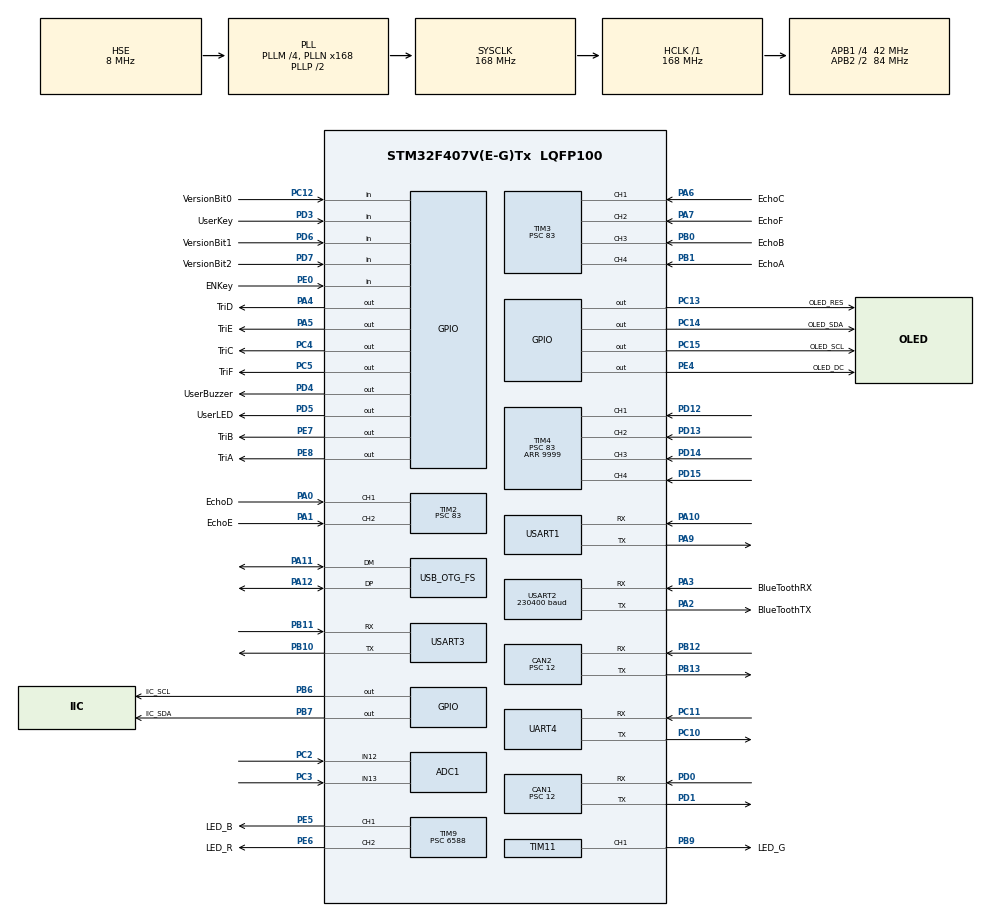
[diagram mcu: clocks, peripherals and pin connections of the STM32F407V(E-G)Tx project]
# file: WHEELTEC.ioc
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ADC1.Channel-0\#ChannelRegularConversion=ADC_CHANNEL_12
ADC1.Channel-1\#ChannelRegularConversion=ADC_CHANNEL_13
ADC1.ClockPrescaler=ADC_CLOCK_SYNC_PCLK_DIV6
ADC1.ContinuousConvMode=ENABLE
ADC1.DMAContinuousRequests=ENABLE
ADC1.NbrOfConversion=2
ADC1.NbrOfConversionFlag=1
ADC1.Rank-0\#ChannelRegularConversion=1
ADC1.Rank-1\#ChannelRegularConversion=2
ADC1.SamplingTime-0\#ChannelRegularConversion=ADC_SAMPLETIME_480CYCLES
ADC1.SamplingTime-1\#ChannelRegularConversion=ADC_SAMPLETIME_480CYCLES
ADC1.ScanConvMode=ENABLE
ADC1.master=1
CAN1.BS1=CAN_BS1_3TQ
CAN1.BS2=CAN_BS2_3TQ
CAN1.CalculateBaudRate=500000
CAN1.CalculateTimeBit=2000
CAN1.CalculateTimeQuantum=285.7142857142857
CAN1.Prescaler=12
CAN1.SJW=CAN_SJW_1TQ
CAN2.BS1=CAN_BS1_3TQ
CAN2.BS2=CAN_BS2_3TQ
CAN2.CalculateBaudRate=500000
CAN2.CalculateTimeBit=2000
CAN2.CalculateTimeQuantum=285.7142857142857
CAN2.Prescaler=12
Dma.ADC1.0.Direction=DMA_PERIPH_TO_MEMORY
Dma.ADC1.0.FIFOMode=DMA_FIFOMODE_DISABLE
Dma.ADC1.0.Instance=DMA2_Stream0
Dma.ADC1.0.MemDataAlignment=DMA_MDATAALIGN_HALFWORD
Dma.ADC1.0.MemInc=DMA_MINC_ENABLE
Dma.ADC1.0.Mode=DMA_CIRCULAR
Dma.ADC1.0.PeriphDataAlignment=DMA_PDATAALIGN_HALFWORD
Dma.ADC1.0.PeriphInc=DMA_PINC_DISABLE
Dma.ADC1.0.Priority=DMA_PRIORITY_LOW
Dma.Request0=ADC1
Dma.Request1=USART2_TX
Dma.Request2=UART4_TX
Dma.Request3=USART1_TX
Dma.Request4=USART3_RX
Dma.UART4_TX.2.Direction=DMA_MEMORY_TO_PERIPH
Dma.UART4_TX.2.FIFOMode=DMA_FIFOMODE_DISABLE
Dma.UART4_TX.2.Instance=DMA1_Stream4
Dma.UART4_TX.2.MemDataAlignment=DMA_MDATAALIGN_BYTE
Dma.UART4_TX.2.MemInc=DMA_MINC_ENABLE
Dma.UART4_TX.2.Mode=DMA_NORMAL
Dma.UART4_TX.2.PeriphDataAlignment=DMA_PDATAALIGN_BYTE
Dma.UART4_TX.2.PeriphInc=DMA_PINC_DISABLE
Dma.UART4_TX.2.Priority=DMA_PRIORITY_LOW
Dma.USART1_TX.3.Direction=DMA_MEMORY_TO_PERIPH
Dma.USART1_TX.3.FIFOMode=DMA_FIFOMODE_DISABLE
Dma.USART1_TX.3.Instance=DMA2_Stream7
Dma.USART1_TX.3.MemDataAlignment=DMA_MDATAALIGN_BYTE
Dma.USART1_TX.3.MemInc=DMA_MINC_ENABLE
Dma.USART1_TX.3.Mode=DMA_NORMAL
Dma.USART1_TX.3.PeriphDataAlignment=DMA_PDATAALIGN_BYTE
Dma.USART1_TX.3.PeriphInc=DMA_PINC_DISABLE
Dma.USART1_TX.3.Priority=DMA_PRIORITY_LOW
Dma.USART2_TX.1.Direction=DMA_MEMORY_TO_PERIPH
Dma.USART2_TX.1.FIFOMode=DMA_FIFOMODE_DISABLE
Dma.USART2_TX.1.Instance=DMA1_Stream6
Dma.USART2_TX.1.MemDataAlignment=DMA_MDATAALIGN_BYTE
Dma.USART2_TX.1.MemInc=DMA_MINC_ENABLE
Dma.USART2_TX.1.Mode=DMA_NORMAL
Dma.USART2_TX.1.PeriphDataAlignment=DMA_PDATAALIGN_BYTE
Dma.USART2_TX.1.PeriphInc=DMA_PINC_DISABLE
Dma.USART2_TX.1.Priority=DMA_PRIORITY_LOW
Dma.USART3_RX.4.Direction=DMA_PERIPH_TO_MEMORY
Dma.USART3_RX.4.FIFOMode=DMA_FIFOMODE_DISABLE
Dma.USART3_RX.4.Instance=DMA1_Stream1
Dma.USART3_RX.4.MemDataAlignment=DMA_MDATAALIGN_BYTE
Dma.USART3_RX.4.MemInc=DMA_MINC_ENABLE
Dma.USART3_RX.4.Mode=DMA_NORMAL
Dma.USART3_RX.4.PeriphDataAlignment=DMA_PDATAALIGN_BYTE
Dma.USART3_RX.4.PeriphInc=DMA_PINC_DISABLE
Dma.USART3_RX.4.Priority=DMA_PRIORITY_LOW
FREERTOS.Tasks01=InitTask,32,128,StartInitTask,Default,NULL,Dynamic,NULL,NULL
FREERTOS.configCHECK_FOR_STACK_OVERFLOW=2
FREERTOS.configENABLE_FPU=1
FREERTOS.configGENERATE_RUN_TIME_STATS=1
FREERTOS.configTOTAL_HEAP_SIZE=51200
FREERTOS.configUSE_DAEMON_TASK_STARTUP_HOOK=0
FREERTOS.configUSE_IDLE_HOOK=1
FREERTOS.configUSE_MALLOC_FAILED_HOOK=1
FREERTOS.configUSE_STATS_FORMATTING_FUNCTIONS=1
Mcu.Family=STM32F4
Mcu.Name=STM32F407V(E-G)Tx
Mcu.Package=LQFP100
NVIC.CAN1_RX0_IRQn=true\:5\:0\:false\:false\:true\:true\:true\:true\:true
NVIC.CAN2_RX1_IRQn=true\:5\:0\:false\:false\:true\:true\:true\:true\:true
NVIC.DMA1_Stream1_IRQn=true\:5\:0\:false\:false\:true\:true\:false\:true\:true
NVIC.DMA1_Stream4_IRQn=true\:5\:0\:false\:false\:true\:true\:false\:true\:true
NVIC.DMA1_Stream6_IRQn=true\:5\:0\:false\:false\:true\:true\:false\:true\:true
NVIC.DMA2_Stream0_IRQn=true\:5\:0\:false\:false\:true\:true\:false\:true\:true
NVIC.DMA2_Stream7_IRQn=true\:5\:0\:false\:false\:true\:true\:false\:true\:true
NVIC.OTG_FS_IRQn=true\:5\:0\:false\:false\:true\:true\:false\:true\:true
NVIC.PriorityGroup=NVIC_PRIORITYGROUP_4
NVIC.TIM2_IRQn=true\:5\:0\:false\:false\:true\:true\:true\:true\:true
NVIC.TIM3_IRQn=true\:5\:0\:false\:false\:true\:true\:true\:true\:true
NVIC.TIM4_IRQn=true\:5\:0\:false\:false\:true\:true\:true\:true\:true
NVIC.TIM7_IRQn=true\:0\:0\:true\:false\:true\:false\:false\:true\:true
NVIC.TimeBase=TIM7_IRQn
NVIC.TimeBaseIP=TIM7
NVIC.UART4_IRQn=true\:5\:0\:false\:false\:true\:true\:true\:true\:true
NVIC.USART1_IRQn=true\:5\:0\:false\:false\:true\:true\:true\:true\:true
NVIC.USART2_IRQn=true\:5\:0\:false\:false\:true\:true\:true\:true\:true
NVIC.USART3_IRQn=true\:5\:0\:false\:false\:true\:true\:true\:true\:true
PA0-WKUP.GPIO_Label=EchoD
PA0-WKUP.Signal=S_TIM2_CH1_ETR
PA1.GPIO_Label=EchoE
PA1.Signal=S_TIM2_CH2
PA10.Mode=Asynchronous
PA10.Signal=USART1_RX
PA11.Mode=Host_Only
PA11.Signal=USB_OTG_FS_DM
PA12.Mode=Host_Only
PA12.Signal=USB_OTG_FS_DP
PA13.Mode=Serial_Wire
PA13.Signal=SYS_JTMS-SWDIO
PA14.Mode=Serial_Wire
PA14.Signal=SYS_JTCK-SWCLK
PA2.GPIO_Label=BlueToothTX
PA2.Mode=Asynchronous
PA2.Signal=USART2_TX
PA3.GPIO_Label=BlueToothRX
PA3.Mode=Asynchronous
PA3.Signal=USART2_RX
PA4.GPIO_Label=TriD
PA4.GPIO_Speed=GPIO_SPEED_FREQ_VERY_HIGH
PA4.PinState=GPIO_PIN_SET
PA4.Signal=GPIO_Output
PA5.GPIO_Label=TriE
PA5.GPIO_Speed=GPIO_SPEED_FREQ_VERY_HIGH
PA5.PinState=GPIO_PIN_SET
PA5.Signal=GPIO_Output
PA6.GPIO_Label=EchoC
PA6.Signal=S_TIM3_CH1
PA7.GPIO_Label=EchoF
PA7.Signal=S_TIM3_CH2
PA9.Mode=Asynchronous
PA9.Signal=USART1_TX
PB0.GPIO_Label=EchoB
PB0.Signal=S_TIM3_CH3
PB1.GPIO_Label=EchoA
PB1.Signal=S_TIM3_CH4
PB10.Mode=Asynchronous
PB10.Signal=USART3_TX
PB11.Mode=Asynchronous
PB11.Signal=USART3_RX
PB12.Mode=CAN_Activate
PB12.Signal=CAN2_RX
PB13.Mode=CAN_Activate
PB13.Signal=CAN2_TX
PB6.GPIO_Label=IIC_SCL
PB6.GPIO_PuPd=GPIO_NOPULL
PB6.GPIO_Speed=GPIO_SPEED_FREQ_VERY_HIGH
PB6.PinState=GPIO_PIN_SET
PB6.Signal=GPIO_Output
PB7.GPIO_Label=IIC_SDA
PB7.GPIO_Speed=GPIO_SPEED_FREQ_VERY_HIGH
PB7.PinState=GPIO_PIN_SET
PB7.Signal=GPIO_Output
PB9.GPIO_Label=LED_G
PB9.Signal=S_TIM11_CH1
PC10.Mode=Asynchronous
PC10.Signal=UART4_TX
PC11.Mode=Asynchronous
PC11.Signal=UART4_RX
PC12.GPIO_Label=VersionBit0
PC12.GPIO_PuPd=GPIO_PULLUP
PC12.Signal=GPIO_Input
PC13-ANTI_TAMP.GPIO_Label=OLED_RES
PC13-ANTI_TAMP.Signal=GPIO_Output
PC14-OSC32_IN.GPIO_Label=OLED_SDA
PC14-OSC32_IN.Signal=GPIO_Output
PC15-OSC32_OUT.GPIO_Label=OLED_SCL
PC15-OSC32_OUT.Signal=GPIO_Output
PC2.Signal=ADCx_IN12
PC3.Signal=ADCx_IN13
PC4.GPIO_Label=TriC
PC4.GPIO_Speed=GPIO_SPEED_FREQ_VERY_HIGH
PC4.PinState=GPIO_PIN_SET
PC4.Signal=GPIO_Output
PC5.GPIO_Label=TriF
PC5.GPIO_Speed=GPIO_SPEED_FREQ_VERY_HIGH
PC5.PinState=GPIO_PIN_SET
PC5.Signal=GPIO_Output
PD0.Mode=CAN_Activate
PD0.Signal=CAN1_RX
PD1.Mode=CAN_Activate
PD1.Signal=CAN1_TX
PD12.Signal=S_TIM4_CH1
PD13.Signal=S_TIM4_CH2
PD14.Signal=S_TIM4_CH3
PD15.Signal=S_TIM4_CH4
PD3.GPIO_Label=UserKey
PD3.GPIO_PuPd=GPIO_PULLUP
PD3.Signal=GPIO_Input
PD4.GPIO_Label=UserBuzzer
PD4.PinState=GPIO_PIN_RESET
PD4.Signal=GPIO_Output
PD5.GPIO_Label=UserLED
PD5.PinState=GPIO_PIN_SET
PD5.Signal=GPIO_Output
PD6.GPIO_Label=VersionBit1
PD6.GPIO_PuPd=GPIO_PULLUP
PD6.Signal=GPIO_Input
PD7.GPIO_Label=VersionBit2
PD7.GPIO_PuPd=GPIO_PULLUP
PD7.Signal=GPIO_Input
PE0.GPIO_Label=ENKey
PE0.GPIO_Mode=GPIO_MODE_INPUT
PE0.GPIO_PuPd=GPIO_PULLUP
PE0.Signal=GPIO_Input
PE4.GPIO_Label=OLED_DC
PE4.Signal=GPIO_Output
PE5.GPIO_Label=LED_B
PE5.Signal=S_TIM9_CH1
PE6.GPIO_Label=LED_R
PE6.Signal=S_TIM9_CH2
PE7.GPIO_Label=TriB
PE7.GPIO_Speed=GPIO_SPEED_FREQ_VERY_HIGH
PE7.PinState=GPIO_PIN_SET
PE7.Signal=GPIO_Output
PE8.GPIO_Label=TriA
PE8.GPIO_Speed=GPIO_SPEED_FREQ_VERY_HIGH
PE8.PinState=GPIO_PIN_SET
PE8.Signal=GPIO_Output
PH0-OSC_IN.Mode=HSE-External-Oscillator
PH0-OSC_IN.Signal=RCC_OSC_IN
PH1-OSC_OUT.Mode=HSE-External-Oscillator
PH1-OSC_OUT.Signal=RCC_OSC_OUT
ProjectManager.HeapSize=0x200
ProjectManager.StackSize=0x400
ProjectManager.TargetToolchain=STM32CubeIDE
RCC.48MHZClocksFreq_Value=48000000
RCC.AHBFreq_Value=168000000
RCC.APB1CLKDivider=RCC_HCLK_DIV4
RCC.APB1Freq_Value=42000000
RCC.APB1TimFreq_Value=84000000
RCC.APB2CLKDivider=RCC_HCLK_DIV2
RCC.APB2Freq_Value=84000000
RCC.APB2TimFreq_Value=168000000
RCC.CortexFreq_Value=168000000
RCC.HCLKFreq_Value=168000000
RCC.HSE_VALUE=8000000
RCC.HSI_VALUE=16000000
RCC.LSE_VALUE=32768
RCC.PLLM=4
RCC.PLLN=168
RCC.PLLQ=7
RCC.SYSCLKFreq_VALUE=168000000
RCC.SYSCLKSource=RCC_SYSCLKSOURCE_PLLCLK
RCC.VCOOutputFreq_Value=336000000
SH.ADCx_IN12.0=ADC1_IN12,IN12
SH.ADCx_IN13.0=ADC1_IN13,IN13
SH.S_TIM11_CH1.0=TIM11_CH1,PWM Generation1 CH1
SH.S_TIM2_CH1_ETR.0=TIM2_CH1,Input_Capture1_from_TI1
SH.S_TIM2_CH2.0=TIM2_CH2,Input_Capture2_from_TI2
SH.S_TIM3_CH1.0=TIM3_CH1,Input_Capture1_from_TI1
SH.S_TIM3_CH2.0=TIM3_CH2,Input_Capture2_from_TI2
SH.S_TIM3_CH3.0=TIM3_CH3,Input_Capture3_from_TI3
SH.S_TIM3_CH4.0=TIM3_CH4,Input_Capture4_from_TI4
SH.S_TIM4_CH1.0=TIM4_CH1,Input_Capture1_from_TI1
SH.S_TIM4_CH2.0=TIM4_CH2,Input_Capture2_from_TI2
SH.S_TIM4_CH3.0=TIM4_CH3,Input_Capture3_from_TI3
SH.S_TIM4_CH4.0=TIM4_CH4,Input_Capture4_from_TI4
SH.S_TIM9_CH1.0=TIM9_CH1,PWM Generation1 CH1
SH.S_TIM9_CH2.0=TIM9_CH2,PWM Generation2 CH2
TIM11.Channel=TIM_CHANNEL_1
TIM11.Period=254
TIM11.Prescaler=6588
TIM2.Channel-Input_Capture1_from_TI1=TIM_CHANNEL_1
TIM2.Channel-Input_Capture2_from_TI2=TIM_CHANNEL_2
TIM2.Period=0xffff
TIM2.Prescaler=83
TIM3.Channel-Input_Capture1_from_TI1=TIM_CHANNEL_1
TIM3.Channel-Input_Capture2_from_TI2=TIM_CHANNEL_2
TIM3.Channel-Input_Capture3_from_TI3=TIM_CHANNEL_3
TIM3.Channel-Input_Capture4_from_TI4=TIM_CHANNEL_4
TIM3.Prescaler=83
TIM4.Channel-Input_Capture1_from_TI1=TIM_CHANNEL_1
TIM4.Channel-Input_Capture2_from_TI2=TIM_CHANNEL_2
TIM4.Channel-Input_Capture3_from_TI3=TIM_CHANNEL_3
TIM4.Channel-Input_Capture4_from_TI4=TIM_CHANNEL_4
TIM4.Period=9999
TIM4.Prescaler=83
TIM6.Prescaler=839
TIM9.Channel-PWM\ Generation1\ CH1=TIM_CHANNEL_1
TIM9.Channel-PWM\ Generation2\ CH2=TIM_CHANNEL_2
TIM9.Period=254
TIM9.Prescaler=6588
UART4.VirtualMode=Asynchronous
USART1.VirtualMode=VM_ASYNC
USART2.BaudRate=230400
USART2.VirtualMode=VM_ASYNC
USART3.VirtualMode=VM_ASYNC
USB_HOST.SW_VBUS_DRIVE_HID_FS=true
USB_HOST.USBH_DEBUG_LEVEL-HID_FS=0
USB_HOST.USBH_HandleTypeDef-HID_FS=hUsbHostFS
USB_HOST.USBH_MAX_DATA_BUFFER-HID_FS=2048
USB_HOST.USBH_MAX_NUM_SUPPORTED_CLASS-HID_FS=2
USB_HOST.USBH_MAX_SIZE_CONFIGURATION-HID_FS=256
USB_HOST.USBH_PROCESS_STACK_SIZE-HID_FS=1024
USB_HOST.VirtualModeFS=Hid
USB_OTG_FS.VirtualMode=Host_Only
USB_OTG_FS.phy_itface=HCD_PHY_EMBEDDED
VP_FREERTOS_VS_CMSIS_V2.Mode=CMSIS_V2
VP_SYS_VS_tim7.Mode=TIM7
VP_TIM11_VS_ClockSourceINT.Mode=Enable_Timer
VP_TIM2_VS_ClockSourceINT.Mode=Internal
VP_TIM3_VS_ClockSourceINT.Mode=Internal
VP_TIM4_VS_ClockSourceINT.Mode=Internal
VP_TIM6_VS_ClockSourceINT.Mode=Enable_Timer
VP_TIM9_VS_ClockSourceINT.Mode=Internal
VP_USB_HOST_VS_USB_HOST_HID_FS.Mode=HID_FS
board=custom

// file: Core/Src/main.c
/* USER CODE BEGIN Header */
/**
  ******************************************************************************
  * @file           : main.c
  * @brief          : Main program body
  ******************************************************************************
  * @attention
  *
  * Copyright (c) 2025 STMicroelectronics.
  * All rights reserved.
  *
  * This software is licensed under terms that can be found in the LICENSE file
  * in the root directory of this software component.
  * If no LICENSE file comes with this software, it is provided AS-IS.
  *
  ******************************************************************************
  */
/* USER CODE END Header */
#include "main.h"
#include "cmsis_os.h"
#include "adc.h"
#include "can.h"
#include "dma.h"
#include "tim.h"
#include "usart.h"
#include "usb_host.h"
#include "gpio.h"

/* USER CODE BEGIN Includes */
#include <stdio.h>

//bsp
#include "bsp_oled.h"
#include "bsp_dwt.h"
#include "bsp_can.h"
#include "bsp_adc.h"
#include "bsp_flash.h"

#include "robot_select_init.h"

/* USER CODE END Includes */

/* USER CODE BEGIN PV */

static uint8_t HardWareVersion = HW_UnKnown; //系统硬件版本

uint8_t BlueToothBuffer = 0;//蓝牙串口接收缓冲
uint8_t rosbuffer = 0;      //ROS串口接收缓冲区
uint8_t usart1_buffer = 0;  //串口1接收缓冲区
uint8_t rs485_buffer = 0;   //485接收缓冲区

DebugType_t g_sys_debug = { 0 }; //全局调试变量
/* USER CODE END PV */

void SystemClock_Config(void);
void MX_FREERTOS_Init(void);

int main(void)
{

  /* MCU Configuration--------------------------------------------------------*/

  /* Reset of all peripherals, Initializes the Flash interface and the Systick. */
  HAL_Init();

  /* Configure the system clock */
  SystemClock_Config();

  /* Initialize all configured peripherals */
  MX_GPIO_Init();
  MX_DMA_Init();
  MX_USART1_UART_Init();
  MX_USART2_UART_Init();
  MX_USART3_UART_Init();
  MX_UART4_Init();
  MX_TIM2_Init();
  MX_TIM3_Init();
  MX_TIM4_Init();
  MX_TIM6_Init();
  MX_TIM9_Init();
  MX_TIM11_Init();
  MX_ADC1_Init();
  MX_CAN1_Init();
  MX_CAN2_Init();
  /* USER CODE BEGIN 2 */

	//DWT定时器初始化,用于实现ms、us延时函数
	DWT_Init();

	//ADC用户配置初始化
	ADC_Userconfig_Init();

	//启动FreeRTOS系统调试定时器
	HAL_TIM_Base_Start(&htim6);

	//OLED屏幕初始化
	pOLEDInterface_t oled = &UserOLED;
	oled->init();

	//C63X硬件版本确定(通过版本io口,确认硬件版本)
	uint8_t Version = 0;
	Version |= (HAL_GPIO_ReadPin(VersionBit2_GPIO_Port,VersionBit2_Pin))<<2;
	Version |= (HAL_GPIO_ReadPin(VersionBit1_GPIO_Port,VersionBit1_Pin))<<1;
	Version |= (HAL_GPIO_ReadPin(VersionBit0_GPIO_Port,VersionBit0_Pin))<<0;

	if( Version == 0 )
	{
		HardWareVersion = HW_1_1;
	}
	else if( Version == 7)
	{
		HardWareVersion = HW_1_0;

		//反初始化V2.0版本的CAN引脚
		HAL_GPIO_DeInit(GPIOD, GPIO_PIN_0|GPIO_PIN_1);

		//初始化V1.0版本CAN引脚
		GPIO_InitTypeDef GPIO_InitStruct = {0};
		__HAL_RCC_GPIOA_CLK_ENABLE();
		GPIO_InitStruct.Pin = GPIO_PIN_11|GPIO_PIN_12;
		GPIO_InitStruct.Mode = GPIO_MODE_AF_PP;
		GPIO_InitStruct.Pull = GPIO_NOPULL;
		GPIO_InitStruct.Speed = GPIO_SPEED_FREQ_VERY_HIGH;
		GPIO_InitStruct.Alternate = GPIO_AF9_CAN1;
		HAL_GPIO_Init(GPIOA, &GPIO_InitStruct);

		//V1.0版本急停开关
		HAL_GPIO_DeInit(ENKey_GPIO_Port,ENKey_Pin);
		__HAL_RCC_GPIOD_CLK_ENABLE();
		GPIO_InitStruct.Pin = ENKey_V1_0_Pin;
		GPIO_InitStruct.Mode = GPIO_MODE_INPUT;
		GPIO_InitStruct.Pull = GPIO_PULLUP;
		HAL_GPIO_Init(ENKey_V1_0_GPIO_Port, &GPIO_InitStruct);

		//V1.0版本按键
		HAL_GPIO_DeInit(UserKey_V1_0_Port,UserKey_V1_0_Pin);
		HAL_GPIO_DeInit(UserKey_GPIO_Port,UserKey_Pin);
		__HAL_RCC_GPIOD_CLK_ENABLE();
		GPIO_InitStruct.Pin = UserKey_V1_0_Pin;
		GPIO_InitStruct.Mode = GPIO_MODE_INPUT;
		GPIO_InitStruct.Pull = GPIO_PULLUP;
		HAL_GPIO_Init(UserKey_V1_0_Port, &GPIO_InitStruct);
	}
	else
	{
		oled->ShowString(0,0,"unknown hardware-version.");
		oled->ShowString(0,35,"please reset and-retry.");
		oled->RefreshGram();
		while(1)
		{
			HAL_GPIO_TogglePin(UserBuzzer_GPIO_Port,UserBuzzer_Pin);
			HAL_Delay(500);
		}
	}

	//开启航模遥控相关定时器捕获功能
	HAL_TIM_IC_Start_IT(&htim4,TIM_CHANNEL_1);
	HAL_TIM_IC_Start_IT(&htim4,TIM_CHANNEL_2);
	HAL_TIM_IC_Start_IT(&htim4,TIM_CHANNEL_3);
	HAL_TIM_IC_Start_IT(&htim4,TIM_CHANNEL_4);

	//启动串口接收中断
	HAL_UART_Receive_IT(&huart2,&BlueToothBuffer,1);
	HAL_UART_Receive_IT(&huart4,&rosbuffer,1);
	HAL_UART_Receive_IT(&huart1,&usart1_buffer,1);
	HAL_UART_Receive_IT(&huart3,&rs485_buffer,1);

	//485接口测试使用
//	uint8_t _485debug[] = {"hello c63x! RS485 Test Info"};
//	HAL_UART_Transmit(&huart3,_485debug,sizeof(_485debug)/sizeof(_485debug[0]),500);

	//通过电位器确认车型
	HAL_Delay(500);
	Robot_Select();

	//读取用户保存的默认速度值
	uint32_t flashdata[2];
	User_Flash_ReadParam((uint32_t *)flashdata,2);

	//小车默认遥控速度值
	if( flashdata[0]!=0xFFFFFFFF )
	{
		if( flashdata[0]<=3500 )
			RobotControlParam.defalutSpeed = flashdata[0];
	}

	//纠偏系数值
	if( flashdata[1]!=0xFFFFFFFF )
	{
		if( flashdata[1]<=100 )
			RobotControlParam.LineDiffParam = flashdata[1];
	}

  /* USER CODE END 2 */

  /* Init scheduler */
  osKernelInitialize();  /* Call init function for freertos objects (in cmsis_os2.c) */
  MX_FREERTOS_Init();

  /* Start scheduler */
  osKernelStart();

  /* We should never get here as control is now taken by the scheduler */

  /* Infinite loop */
  while (1)
  {

  }
}

void SystemClock_Config(void)
{
  RCC_OscInitTypeDef RCC_OscInitStruct = {0};
  RCC_ClkInitTypeDef RCC_ClkInitStruct = {0};

  /** Configure the main internal regulator output voltage
  */
  __HAL_RCC_PWR_CLK_ENABLE();
  __HAL_PWR_VOLTAGESCALING_CONFIG(PWR_REGULATOR_VOLTAGE_SCALE1);

  /** Initializes the RCC Oscillators according to the specified parameters
  * in the RCC_OscInitTypeDef structure.
  */
  RCC_OscInitStruct.OscillatorType = RCC_OSCILLATORTYPE_HSE;
  RCC_OscInitStruct.HSEState = RCC_HSE_ON;
  RCC_OscInitStruct.PLL.PLLState = RCC_PLL_ON;
  RCC_OscInitStruct.PLL.PLLSource = RCC_PLLSOURCE_HSE;
  RCC_OscInitStruct.PLL.PLLM = 4;
  RCC_OscInitStruct.PLL.PLLN = 168;
  RCC_OscInitStruct.PLL.PLLP = RCC_PLLP_DIV2;
  RCC_OscInitStruct.PLL.PLLQ = 7;
  if (HAL_RCC_OscConfig(&RCC_OscInitStruct) != HAL_OK)
  {
    Error_Handler();
  }

  /** Initializes the CPU, AHB and APB buses clocks
  */
  RCC_ClkInitStruct.ClockType = RCC_CLOCKTYPE_HCLK|RCC_CLOCKTYPE_SYSCLK
                              |RCC_CLOCKTYPE_PCLK1|RCC_CLOCKTYPE_PCLK2;
  RCC_ClkInitStruct.SYSCLKSource = RCC_SYSCLKSOURCE_PLLCLK;
  RCC_ClkInitStruct.AHBCLKDivider = RCC_SYSCLK_DIV1;
  RCC_ClkInitStruct.APB1CLKDivider = RCC_HCLK_DIV4;
  RCC_ClkInitStruct.APB2CLKDivider = RCC_HCLK_DIV2;

  if (HAL_RCC_ClockConfig(&RCC_ClkInitStruct, FLASH_LATENCY_5) != HAL_OK)
  {
    Error_Handler();
  }
}

/* USER CODE BEGIN 4 */

UART_HandleTypeDef *DebugSerial = &huart1;

//printf函数实现
int fputc(int ch,FILE* stream)
{
	while( HAL_OK != HAL_UART_Transmit(DebugSerial,(const uint8_t *)&ch,1,100));
	return ch;
}

//获取硬件版本
uint8_t get_HardWareVersion(void)
{
	return HardWareVersion;
}

//获取急停开关状态,与版本相关
GPIO_PinState get_EnKeyState(void)
{
	if( HardWareVersion == HW_1_0 )
	{
		return HAL_GPIO_ReadPin(ENKey_V1_0_GPIO_Port,ENKey_V1_0_Pin);
	}
	else if( HardWareVersion == HW_1_1 )
	{
		return HAL_GPIO_ReadPin(ENKey_GPIO_Port,ENKey_Pin);
	}

	return GPIO_PIN_RESET;
}

/* USER CODE END 4 */

void HAL_TIM_PeriodElapsedCallback(TIM_HandleTypeDef *htim)
{
  if (htim->Instance == TIM7)
  {
    HAL_IncTick();
  }
}

void Error_Handler(void)
{
  __disable_irq();
  while (1)
  {
  }
}

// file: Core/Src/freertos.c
/* USER CODE BEGIN Header */
/**
  ******************************************************************************
  * File Name          : freertos.c
  * Description        : Code for freertos applications
  ******************************************************************************
  * @attention
  *
  * Copyright (c) 2025 STMicroelectronics.
  * All rights reserved.
  *
  * This software is licensed under terms that can be found in the LICENSE file
  * in the root directory of this software component.
  * If no LICENSE file comes with this software, it is provided AS-IS.
  *
  ******************************************************************************
  */
/* USER CODE END Header */

#include "FreeRTOS.h"
#include "task.h"
#include "main.h"
#include "cmsis_os.h"

/* USER CODE BEGIN Includes */

//C Include File
#include <stdio.h>

//FreeRTOS Include File
#include "queue.h"

//BSP Include File
#include "bsp_oled.h"
#include "bsp_RTOSdebug.h"
#include "bsp_ServoDrive.h"
#include "bsp_RGBLight.h"
#include "bsp_can.h"
#include "bsp_ServoDrive.h"
#include "bsp_buzzer.h"

//APP Include File
#include "sensor_ranger.h"
#include "robot_select_init.h"

/* USER CODE END Includes */

/* USER CODE BEGIN PD */

//FreeRTOS系统调试
#define userconfig_OPEN_STACK_CHECK     0  //开启任务栈大小检查打印
#define userconfig_OPEN_CPU_USAGE_CHECK 0  //开启检查CPU占比打印
#define userconfig_OPEN_CHECK_HEAPSIZE  0  //检查剩余的堆大小

/* USER CODE END PD */

/* USER CODE BEGIN Variables */

QueueHandle_t g_xQueueCANopenCallback = NULL;

//蓝牙数据队列
QueueHandle_t g_xQueueBlueTooth = NULL;

//ROS数据队列
QueueHandle_t  g_xQueueROSserial = NULL;

//自动回充队列数据
QueueHandle_t g_xQueueAutoRecharge = NULL;

TaskHandle_t g_reportErrTaskHandle = NULL;

/* USER CODE END Variables */
/* Definitions for InitTask */
osThreadId_t InitTaskHandle;
const osThreadAttr_t InitTask_attributes = {
  .name = "InitTask",
  .stack_size = 128 * 4,
  .priority = (osPriority_t) osPriorityAboveNormal,
};

/* USER CODE BEGIN FunctionPrototypes */

//FreeRTOS系统调试任务
#if ( 1 == userconfig_OPEN_CPU_USAGE_CHECK ) || ( 1 == userconfig_OPEN_STACK_CHECK ) || ( 1 == userconfig_OPEN_CHECK_HEAPSIZE )
void CpuUsageCheckTask(void *param);
#endif

//任务函数声明
void ultrasonic_task(void* param);
void show_task(void* param);
void ImuTask(void* param);
void BlueToothControlTask(void* param);
void SerialControlTask(void* param);
void RobotControl_task(void* param);
void AutoRechargeTask(void* param);
void data_task(void* param);
void RobotDataTransmitTask(void* param);
void APPshow_task(void* param);
void HeartbeatTask(void* param);
void ReportErrTask(void* param);
void RGBControl_task(void* param);

/* USER CODE END FunctionPrototypes */

void StartInitTask(void *argument);

extern void MX_USB_HOST_Init(void);
void MX_FREERTOS_Init(void); /* (MISRA C 2004 rule 8.1) */

/* Hook prototypes */
void configureTimerForRunTimeStats(void);
unsigned long getRunTimeCounterValue(void);
void vApplicationIdleHook(void);
void vApplicationStackOverflowHook(xTaskHandle xTask, signed char *pcTaskName);
void vApplicationMallocFailedHook(void);

/* USER CODE BEGIN 1 */
/* Functions needed when configGENERATE_RUN_TIME_STATS is on */
__weak void configureTimerForRunTimeStats(void)
{
	//使用cpu占比计时器前初始化内容
	TIM6->CNT = 0;
}

__weak unsigned long getRunTimeCounterValue(void)
{
	static unsigned long time = 0 ;
	static uint16_t lasttime = 0;
	static uint16_t nowtime = 0;

	nowtime = TIM6->CNT; //获得当前计数值

	//如果本次计数值小于上次计数值，说明发生了定时器计数溢出
	if( nowtime < lasttime )
	{
		time += (nowtime + 0xffff - lasttime); //溢出后的时间增量
	}
	else time += ( nowtime - lasttime ) ; //未发生溢出，增量为本次时间-上次时间

	lasttime = nowtime;

	return time;
}
/* USER CODE END 1 */

/* USER CODE BEGIN 2 */
void vApplicationIdleHook( void )
{
   /* vApplicationIdleHook() will only be called if configUSE_IDLE_HOOK is set
   to 1 in FreeRTOSConfig.h. It will be called on each iteration of the idle
   task. It is essential that code added to this hook function never attempts
   to block in any way (for example, call xQueueReceive() with a block time
   specified, or call vTaskDelay()). If the application makes use of the
   vTaskDelete() API function (as this demo application does) then it is also
   important that vApplicationIdleHook() is permitted to return to its calling
   function, because it is the responsibility of the idle task to clean up
   memory allocated by the kernel to any task that has since been deleted. */

	//空闲任务钩子函数
}
/* USER CODE END 2 */

/* USER CODE BEGIN 4 */
void vApplicationStackOverflowHook(xTaskHandle xTask, signed char *pcTaskName)
{
   /* Run time stack overflow checking is performed if
   configCHECK_FOR_STACK_OVERFLOW is defined to 1 or 2. This hook function is
   called if a stack overflow is detected. */

	//任务栈溢出警告
	printf("%s stack overflow\r\n",pcTaskName);
}
/* USER CODE END 4 */

/* USER CODE BEGIN 5 */
void vApplicationMallocFailedHook(void)
{
   /* vApplicationMallocFailedHook() will only be called if
   configUSE_MALLOC_FAILED_HOOK is set to 1 in FreeRTOSConfig.h. It is a hook
   function that will get called if a call to pvPortMalloc() fails.
   pvPortMalloc() is called internally by the kernel whenever a task, queue,
   timer or semaphore is created. It is also called by various parts of the
   demo application. If heap_1.c or heap_2.c are used, then the size of the
   heap available to pvPortMalloc() is defined by configTOTAL_HEAP_SIZE in
   FreeRTOSConfig.h, and the xPortGetFreeHeapSize() API function can be used
   to query the size of free heap space that remains (although it does not
   provide information on how the remaining heap might be fragmented). */

	//内存分配失败警告
	printf("malloc failed.check heapsize\r\n");
}
/* USER CODE END 5 */

void MX_FREERTOS_Init(void) {

  /* USER CODE BEGIN RTOS_QUEUES */
  /* add queues, ... */
	g_xQueueBlueTooth = xQueueCreate(50,sizeof(char));//蓝牙数据队列
	g_xQueueROSserial = xQueueCreate(50,sizeof(char));//ROS数据队列
	g_xQueueAutoRecharge = xQueueCreate(1,sizeof(CANmsgType_t));

  /* USER CODE END RTOS_QUEUES */

  /* Create the thread(s) */
  /* creation of InitTask */
  InitTaskHandle = osThreadNew(StartInitTask, NULL, &InitTask_attributes);

  /* USER CODE BEGIN RTOS_THREADS */
  /* add threads, ... */
  //小车控制任务
  xTaskCreate(RobotControl_task,"robotcontrol",128*4,NULL,osPriorityNormal1,NULL);

  //超声波数据采集任务
  xTaskCreate(ultrasonic_task,"ultraTask",128*2,NULL,osPriorityNormal,NULL);

  //OLED显示任务
  xTaskCreate(show_task,"showTask",128*4,NULL,osPriorityBelowNormal7,NULL);

  //APP显示任务
  xTaskCreate(APPshow_task,"AppShow",128*2,NULL,osPriorityBelowNormal7,NULL);

  //陀螺仪数据获取
  xTaskCreate(ImuTask,"ImuTask",128*4,NULL,osPriorityNormal,NULL);

  //蓝牙数据解析任务
  xTaskCreate(BlueToothControlTask,"BTControlTask",128*2,NULL,osPriorityNormal,NULL);

  //ROS串口数据解析任务
  xTaskCreate(SerialControlTask,"SerialConTask",128*2,NULL,osPriorityNormal,NULL);

  //自动回充设备数据解析任务
  xTaskCreate(AutoRechargeTask,"AutoRechargeTask",128*2,NULL,osPriorityNormal,NULL);

  //数据外发任务
  xTaskCreate(RobotDataTransmitTask,"transmit_task",128*4,NULL,osPriorityNormal,NULL);

  //RGB灯带管理任务
  xTaskCreate(RGBControl_task,"RGB_task",128*2,NULL,osPriorityBelowNormal7,NULL);

  //CANopen心跳报文处理任务
  xTaskCreate(HeartbeatTask,"HeartbeatTask",128,NULL,osPriorityNormal1,NULL);

  //小车自检上报调试任务
  xTaskCreate(ReportErrTask,"ReportErrTask",128*4,NULL,osPriorityNormal,&g_reportErrTaskHandle);

	//FreeRTOS调试任务
	#if ( 1 == userconfig_OPEN_CPU_USAGE_CHECK ) || ( 1 == userconfig_OPEN_STACK_CHECK ) || ( 1 == userconfig_OPEN_CHECK_HEAPSIZE )
	 static uint16_t delaytime = 5000;//打印时间间隔，单位tick
	 xTaskCreate(CpuUsageCheckTask,"DebugTask",128, &delaytime ,osPriorityAboveNormal,NULL);
	#endif
  /* USER CODE END RTOS_THREADS */

}

void StartInitTask(void *argument)
{
  /* init code for USB_HOST */
  MX_USB_HOST_Init();
  /* USER CODE BEGIN StartInitTask */
  /* Infinite loop */

	//初始化任务，用于初始化部分依赖于FreeRTOS内核的项目

	//CAN滤波器初始化
	pCANInterface_t can = &UserCAN1Dev;
	can->init();
	can = &UserCAN2Dev;
	can->init();

	//开机等待驱动器就绪
	HAL_Delay(1200);

	//关闭CANopen所有映射关系,防止数据干扰
	uint8_t PreOp[8]= {0x80, 0x00, 0x00, 0x00, 0x00, 0x00, 0x00, 0x00};
	can = &UserCAN2Dev;
	can->sendStd(0x00,PreOp,8);
	//启用反馈队列准备配置
	g_xQueueCANopenCallback = xQueueCreate(1,sizeof(CANmsgType_t));

	//根据车型驱动数量初始化对应驱动器
	for(uint8_t i=0;i<RobotHardWareParam.driveCounts;i++)
	{
		ServoDriver_Init(g_ServoDriveList[i]);//从可用驱动列表中加载
	}

	//开机提示
	pBuzzerInterface_t tips = &UserBuzzer;
	tips->AddTask(1,700);

	//初始化完成,删除自身
	vTaskDelete(NULL);
  for(;;)
  {
    osDelay(1);
  }
  /* USER CODE END StartInitTask */
}

/* USER CODE BEGIN Application */

#if ( 1 == userconfig_OPEN_CPU_USAGE_CHECK ) || ( 1 == userconfig_OPEN_STACK_CHECK ) || ( 1 == userconfig_OPEN_CHECK_HEAPSIZE )
void CpuUsageCheckTask(void *param)
{
	uint16_t* delaytime = (uint16_t*)param;
	static char showbuf[500];

	while( 1 )
	{
#if 1 == userconfig_OPEN_CPU_USAGE_CHECK
		//打印CPU占比
		vTaskGetRunTimeStats(showbuf);
		printf("TaskName\tUseTime\tCPU\r\n");
		printf("%s\r\n",showbuf);
		vTaskDelay(*delaytime);
#endif

#if 1 == userconfig_OPEN_STACK_CHECK
		//打印剩余任务栈大小,单位word
		vTaskList(showbuf);
		printf("TaskName\tTaskState\tTaskPrio\tStackSize\tTaskNum\r\n");
		printf("%s\r\n",showbuf);
		vTaskDelay(*delaytime);
#endif

#if 1 == userconfig_OPEN_CHECK_HEAPSIZE
		//打印剩余的堆区大小,单位bytes
		printf("free heap size : %d bytes\r\n\r\n",xPortGetFreeHeapSize());
		vTaskDelay(*delaytime);
#endif
	}
}
#endif

/* USER CODE END Application */
